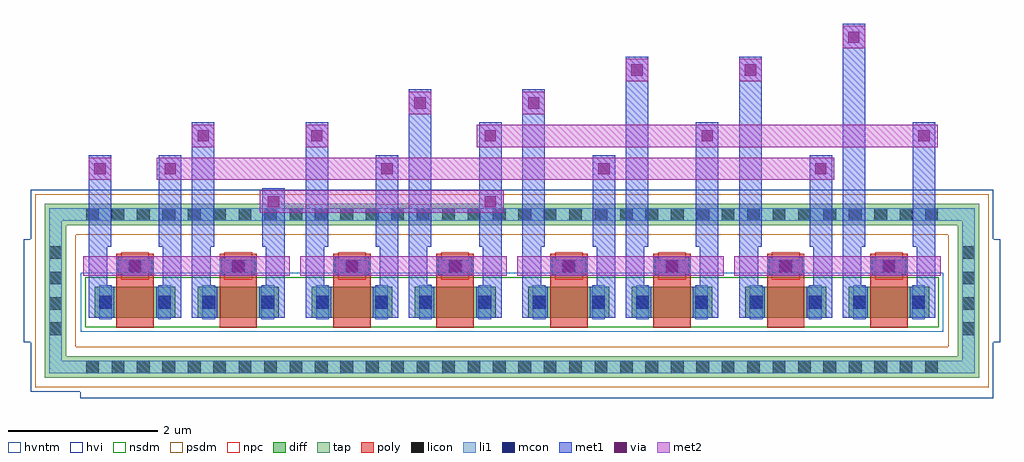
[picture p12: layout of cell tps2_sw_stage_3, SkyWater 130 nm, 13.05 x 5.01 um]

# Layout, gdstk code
import gdstk
lib = gdstk.Library(unit=1e-6, precision=1e-09)
def R(c, l, rs):  # rectangles x0, y0, x1, y1
    for r in rs: c.add(gdstk.rectangle(r[:2], r[2:], *l))
def A(c, l, x, y, w, h, nx, ny, dx, dy):  # array of equal rectangles
    R(c, l, [(x+i*dx, y+j*dy, x+i*dx+w, y+j*dy+h) for i in range(nx) for j in range(ny)])
diff = (65, 20)
tap = (65, 44)
poly = (66, 20)
licon = (66, 44)
li1 = (67, 20)
mcon = (67, 44)
met1 = (68, 20)
via = (68, 44)
met2 = (69, 20)
hvi = (75, 20)
nsdm = (93, 44)
psdm = (94, 20)
npc = (95, 20)
hvntm = (125, 20)

sky130_fd_pr__nfet_g5v0d = lib.new_cell('sky130_fd_pr__nfet_g5v0d10v5_NQHLCX')
R(sky130_fd_pr__nfet_g5v0d, diff, [(-0.54,-0.365,0.54,0.055)])
R(sky130_fd_pr__nfet_g5v0d, poly, [(-0.25,-0.495,0.25,0.495)])
R(sky130_fd_pr__nfet_g5v0d, licon, [(-0.48,-0.24,-0.31,-0.07), (0.31,-0.24,0.48,-0.07), (-0.085,0.245,0.085,0.415)])
R(sky130_fd_pr__nfet_g5v0d, li1, [(-0.48,-0.385,-0.31,0.075), (0.31,-0.385,0.48,0.075), (-0.25,0.245,0.25,0.415)])
R(sky130_fd_pr__nfet_g5v0d, mcon, [(-0.48,-0.24,-0.31,-0.07), (0.31,-0.24,0.48,-0.07), (-0.085,0.245,0.085,0.415)])
R(sky130_fd_pr__nfet_g5v0d, met1, [(-0.51,-0.365,-0.28,0.055), (0.28,-0.365,0.51,0.055), (-0.23,0.215,0.23,0.445)])
R(sky130_fd_pr__nfet_g5v0d, hvi, [(-0.725,-0.575,0.725,0.265)])
R(sky130_fd_pr__nfet_g5v0d, nsdm, [(-0.665,-0.49,0.665,0.18)])
R(sky130_fd_pr__nfet_g5v0d, npc, [(-0.185,0.145,0.185,0.515)])
R(sky130_fd_pr__nfet_g5v0d, hvntm, [(-0.725,-0.55,0.725,0.24)])

hnmos_1 = lib.new_cell('hnmos_1')
R(hnmos_1, met1, [(0.325,0.71,0.645,0.97)])
R(hnmos_1, via, [(0.41,0.765,0.56,0.915)])
R(hnmos_1, met2, [(-0.205,0.71,1.175,0.97)])
hnmos_1.add(gdstk.Reference(sky130_fd_pr__nfet_g5v0d, (0.485,0.51)))

hnmos_2 = lib.new_cell('hnmos_2')
R(hnmos_2, nsdm, [(1.335,0.01,1.385,0.68)])
hnmos_2.add(gdstk.Reference(hnmos_1, (1.565,-0.01)))
hnmos_2.add(gdstk.Reference(hnmos_1, (0.185,-0.01)))

tps2_sw_stage_3 = lib.new_cell('tps2_sw_stage_3')
R(tps2_sw_stage_3, tap, [(-0.6,-0.765,11.9,-0.475), (-0.6,-0.475,-0.31,1.275), (11.61,-0.475,11.9,1.275), (-0.6,1.275,11.9,1.565)])
A(tps2_sw_stage_3, licon, -0.045, -0.705, 0.17, 0.17, 34, 2, 0.34, 2.04)
A(tps2_sw_stage_3, licon, -0.54, -0.195, 0.17, 0.17, 1, 4, 0, 0.34)
A(tps2_sw_stage_3, licon, 11.67, -0.195, 0.17, 0.17, 1, 4, 0, 0.34)
R(tps2_sw_stage_3, li1, [(-0.54,-0.705,11.84,-0.535), (-0.54,-0.535,-0.37,1.335), (11.67,-0.535,11.84,1.335), (-0.54,1.335,11.84,1.505)])
A(tps2_sw_stage_3, met1, 0.93, 0.985, 0.3, 1.225, 4, 1, 2.9, 0)
A(tps2_sw_stage_3, met1, 5.21, 0.985, 0.3, 1.665, 3, 1, 2.9, 0)
R(tps2_sw_stage_3, met1, [(-0.01,0.035,0.29,0.475), (0.93,0.035,1.23,0.475), (1.37,0.035,1.67,0.475), (2.31,0.035,2.61,0.475), (2.89,0.035,3.19,0.475), (3.83,0.035,4.13,0.475), (4.27,0.035,4.57,0.48), (5.21,0.035,5.51,0.475), (5.79,0.035,6.09,0.475), (6.73,0.035,7.03,0.475), (7.17,0.035,7.47,0.475), (8.11,0.035,8.41,0.475), (8.69,0.035,8.99,0.475), (9.63,0.035,9.93,0.475), (10.07,0.035,10.37,0.475), (11.01,0.035,11.31,0.475), (-0.01,0.475,0.24,0.985), (0.98,0.475,1.23,0.985), (1.37,0.475,1.62,0.985), (2.36,0.475,2.61,0.985), (2.89,0.475,3.14,0.985), (3.88,0.475,4.13,0.985), (5.26,0.475,5.51,0.985), (5.79,0.475,6.04,0.985), (6.78,0.475,7.03,0.985), (7.17,0.475,7.42,0.985), (8.16,0.475,8.41,0.985), (8.69,0.475,8.94,0.985), (9.68,0.475,9.93,0.985), (10.07,0.475,10.32,0.985), (11.06,0.475,11.31,0.985), (4.27,0.48,4.52,0.99), (-0.01,0.985,0.29,2.21), (1.37,0.985,1.67,2.65), (2.31,0.985,2.61,1.77), (2.89,0.985,3.19,2.65), (5.79,0.985,6.09,3.09), (7.17,0.985,7.47,3.53), (8.69,0.985,8.99,3.53), (10.07,0.985,10.37,3.97), (4.27,0.99,4.57,3.09)])
A(tps2_sw_stage_3, via, 1.005, 1.955, 0.15, 0.15, 4, 1, 2.9, 0)
A(tps2_sw_stage_3, via, 5.285, 2.395, 0.15, 0.15, 3, 1, 2.9, 0)
R(tps2_sw_stage_3, via, [(2.385,1.515,2.535,1.665), (5.285,1.515,5.435,1.665), (0.065,1.955,0.215,2.105), (1.445,2.395,1.595,2.545), (2.965,2.395,3.115,2.545), (4.345,2.835,4.495,2.985), (5.865,2.835,6.015,2.985), (7.245,3.275,7.395,3.425), (8.765,3.275,8.915,3.425), (10.145,3.715,10.295,3.865)])
R(tps2_sw_stage_3, met2, [(2.275,1.44,5.54,1.74), (-0.01,1.88,0.29,2.18), (0.9,1.88,9.96,2.18), (1.37,2.32,1.67,2.62), (2.89,2.32,3.19,2.62), (5.18,2.32,11.34,2.62), (4.27,2.76,4.57,3.06), (5.79,2.76,6.09,3.06), (7.17,3.2,7.47,3.5), (8.69,3.2,8.99,3.5), (10.07,3.64,10.37,3.94)])
A(tps2_sw_stage_3, hvi, 2.715, -0.175, 0.07, 0.84, 3, 1, 2.9, 0)
R(tps2_sw_stage_3, hvi, [(-0.125,-1.04,12.085,-0.95), (-0.785,-0.95,12.085,-0.29), (-0.875,-0.29,12.175,-0.175), (-0.875,-0.175,-0.035,0.665), (11.335,-0.175,12.175,0.665), (-0.875,0.665,12.175,1.09), (-0.785,1.09,12.085,1.75)])
A(tps2_sw_stage_3, nsdm, 2.655, -0.09, 0.19, 0.67, 3, 1, 2.9, 0)
R(tps2_sw_stage_3, psdm, [(-0.725,-0.89,12.025,-0.35), (-0.725,-0.35,-0.185,1.15), (11.485,-0.35,12.025,1.15), (-0.725,1.15,12.025,1.69)])
A(tps2_sw_stage_3, hvntm, 2.715, -0.15, 0.07, 0.79, 3, 1, 2.9, 0)
tps2_sw_stage_3.add(gdstk.Reference(hnmos_2, (8.64,-0.1)))
tps2_sw_stage_3.add(gdstk.Reference(hnmos_2, (5.74,-0.1)))
tps2_sw_stage_3.add(gdstk.Reference(hnmos_2, (2.84,-0.1)))
tps2_sw_stage_3.add(gdstk.Reference(hnmos_2, (-0.06,-0.1)))

lib.write_gds('tps2_sw_stage_3.gds')
